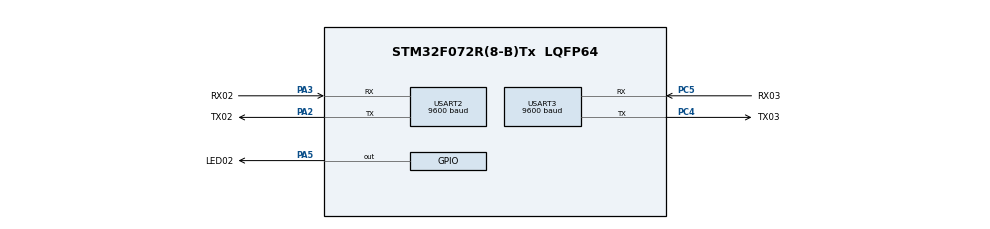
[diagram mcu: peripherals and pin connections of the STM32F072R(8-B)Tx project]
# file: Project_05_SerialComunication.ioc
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Mcu.Family=STM32F0
Mcu.Name=STM32F072R(8-B)Tx
Mcu.Package=LQFP64
NVIC.USART2_IRQn=true\:0\:0\:false\:false\:true\:true\:true\:true
NVIC.USART3_4_IRQn=true\:0\:0\:false\:false\:true\:true\:true\:true
PA2.GPIO_Label=TX02
PA2.Mode=Asynchronous
PA2.Signal=USART2_TX
PA3.GPIO_Label=RX02
PA3.Mode=Asynchronous
PA3.Signal=USART2_RX
PA5.GPIO_Label=LED02
PA5.Signal=GPIO_Output
PC4.GPIO_Label=TX03
PC4.Mode=Asynchronous
PC4.Signal=USART3_TX
PC5.GPIO_Label=RX03
PC5.Mode=Asynchronous
PC5.Signal=USART3_RX
ProjectManager.HeapSize=0x200
ProjectManager.StackSize=0x400
ProjectManager.TargetToolchain=STM32CubeIDE
USART2.BaudRate=9600
USART2.VirtualMode-Asynchronous=VM_ASYNC
USART3.BaudRate=9600
USART3.VirtualMode-Asynchronous=VM_ASYNC
board=custom

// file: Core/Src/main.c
/* USER CODE BEGIN Header */
/**
  ******************************************************************************
  * @file           : main.c
  * @brief          : Main program body
  ******************************************************************************
  * @attention
  *
  * Copyright (c) 2022 STMicroelectronics.
  * All rights reserved.
  *
  * This software is licensed under terms that can be found in the LICENSE file
  * in the root directory of this software component.
  * If no LICENSE file comes with this software, it is provided AS-IS.
  *
  ******************************************************************************
  */
/* USER CODE END Header */
#include "main.h"

UART_HandleTypeDef huart2;
UART_HandleTypeDef huart3;

uint8_t byte;
uint8_t rx_buffer[3];

void SystemClock_Config(void);
static void MX_GPIO_Init(void);
static void MX_USART2_UART_Init(void);
static void MX_USART3_UART_Init(void);

int main(void)
{

  /* MCU Configuration--------------------------------------------------------*/

  /* Reset of all peripherals, Initializes the Flash interface and the Systick. */
  HAL_Init();

  /* Configure the system clock */
  SystemClock_Config();

  /* Initialize all configured peripherals */
  MX_GPIO_Init();
  MX_USART2_UART_Init();
  MX_USART3_UART_Init();

  /* Infinite loop */
  /* USER CODE BEGIN WHILE */
  while (1)
  {
	  HAL_UART_Receive_IT(&huart2,rx_buffer,2);
	 	  if((rx_buffer[0] == 'h') && (rx_buffer[1] == 'i') ){

	 		  HAL_GPIO_TogglePin(GPIOA,GPIO_PIN_5);
	 		  rx_buffer[0] = 0;
	 		  rx_buffer[1] = 0;

	 	  }

	 	  if((rx_buffer[0] == 'h') && (rx_buffer[1] == 'i') ){

	 	 		  HAL_GPIO_TogglePin(GPIOA,GPIO_PIN_5);
	 	 		  rx_buffer[0] = 0;
	 	 		  rx_buffer[1] = 0;

	 	 	  }

	 	  if((rx_buffer[0] == 'd') && (rx_buffer[1] == 'e') ){

	 		  HAL_GPIO_TogglePin(GPIOA,GPIO_PIN_5);
	 		  rx_buffer[0] = 0;
	  		  rx_buffer[1] = 0;

	 	  }

	   HAL_UART_Receive_IT(&huart3,rx_buffer,2);
		  if((rx_buffer[0] == 'h') && (rx_buffer[1] == 'i') ){

			  HAL_GPIO_TogglePin(GPIOA,GPIO_PIN_5);
			  rx_buffer[0] = 0;
			  rx_buffer[1] = 0;

		  }

		  if((rx_buffer[0] == 'h') && (rx_buffer[1] == 'i') ){

				  HAL_GPIO_TogglePin(GPIOA,GPIO_PIN_5);
				  rx_buffer[0] = 0;
				  rx_buffer[1] = 0;

			  }

		  if((rx_buffer[0] == 'd') && (rx_buffer[1] == 'e') ){

			  HAL_GPIO_TogglePin(GPIOA,GPIO_PIN_5);
			  rx_buffer[0] = 0;
			  rx_buffer[1] = 0;

		  }
 /* USER CODE END WHILE */

  }
}

void SystemClock_Config(void)
{
  RCC_OscInitTypeDef RCC_OscInitStruct = {0};
  RCC_ClkInitTypeDef RCC_ClkInitStruct = {0};
  RCC_PeriphCLKInitTypeDef PeriphClkInit = {0};

  /** Initializes the RCC Oscillators according to the specified parameters
  * in the RCC_OscInitTypeDef structure.
  */
  RCC_OscInitStruct.OscillatorType = RCC_OSCILLATORTYPE_HSI;
  RCC_OscInitStruct.HSIState = RCC_HSI_ON;
  RCC_OscInitStruct.HSICalibrationValue = RCC_HSICALIBRATION_DEFAULT;
  RCC_OscInitStruct.PLL.PLLState = RCC_PLL_NONE;
  if (HAL_RCC_OscConfig(&RCC_OscInitStruct) != HAL_OK)
  {
    Error_Handler();
  }

  /** Initializes the CPU, AHB and APB buses clocks
  */
  RCC_ClkInitStruct.ClockType = RCC_CLOCKTYPE_HCLK|RCC_CLOCKTYPE_SYSCLK
                              |RCC_CLOCKTYPE_PCLK1;
  RCC_ClkInitStruct.SYSCLKSource = RCC_SYSCLKSOURCE_HSI;
  RCC_ClkInitStruct.AHBCLKDivider = RCC_SYSCLK_DIV1;
  RCC_ClkInitStruct.APB1CLKDivider = RCC_HCLK_DIV1;

  if (HAL_RCC_ClockConfig(&RCC_ClkInitStruct, FLASH_LATENCY_0) != HAL_OK)
  {
    Error_Handler();
  }
  PeriphClkInit.PeriphClockSelection = RCC_PERIPHCLK_USART2;
  PeriphClkInit.Usart2ClockSelection = RCC_USART2CLKSOURCE_PCLK1;
  if (HAL_RCCEx_PeriphCLKConfig(&PeriphClkInit) != HAL_OK)
  {
    Error_Handler();
  }
}

static void MX_USART2_UART_Init(void)
{

  huart2.Instance = USART2;
  huart2.Init.BaudRate = 9600;
  huart2.Init.WordLength = UART_WORDLENGTH_8B;
  huart2.Init.StopBits = UART_STOPBITS_1;
  huart2.Init.Parity = UART_PARITY_NONE;
  huart2.Init.Mode = UART_MODE_TX_RX;
  huart2.Init.HwFlowCtl = UART_HWCONTROL_NONE;
  huart2.Init.OverSampling = UART_OVERSAMPLING_16;
  huart2.Init.OneBitSampling = UART_ONE_BIT_SAMPLE_DISABLE;
  huart2.AdvancedInit.AdvFeatureInit = UART_ADVFEATURE_NO_INIT;
  if (HAL_UART_Init(&huart2) != HAL_OK)
  {
    Error_Handler();
  }

}

static void MX_USART3_UART_Init(void)
{

  huart3.Instance = USART3;
  huart3.Init.BaudRate = 9600;
  huart3.Init.WordLength = UART_WORDLENGTH_8B;
  huart3.Init.StopBits = UART_STOPBITS_1;
  huart3.Init.Parity = UART_PARITY_NONE;
  huart3.Init.Mode = UART_MODE_TX_RX;
  huart3.Init.HwFlowCtl = UART_HWCONTROL_NONE;
  huart3.Init.OverSampling = UART_OVERSAMPLING_16;
  huart3.Init.OneBitSampling = UART_ONE_BIT_SAMPLE_DISABLE;
  huart3.AdvancedInit.AdvFeatureInit = UART_ADVFEATURE_NO_INIT;
  if (HAL_UART_Init(&huart3) != HAL_OK)
  {
    Error_Handler();
  }

}

static void MX_GPIO_Init(void)
{
  GPIO_InitTypeDef GPIO_InitStruct = {0};

  /* GPIO Ports Clock Enable */
  __HAL_RCC_GPIOA_CLK_ENABLE();
  __HAL_RCC_GPIOC_CLK_ENABLE();

  /*Configure GPIO pin Output Level */
  HAL_GPIO_WritePin(LED02_GPIO_Port, LED02_Pin, GPIO_PIN_RESET);

  /*Configure GPIO pin : LED02_Pin */
  GPIO_InitStruct.Pin = LED02_Pin;
  GPIO_InitStruct.Mode = GPIO_MODE_OUTPUT_PP;
  GPIO_InitStruct.Pull = GPIO_NOPULL;
  GPIO_InitStruct.Speed = GPIO_SPEED_FREQ_LOW;
  HAL_GPIO_Init(LED02_GPIO_Port, &GPIO_InitStruct);

}

void Error_Handler(void)
{
  __disable_irq();
  while (1)
  {
  }
}
